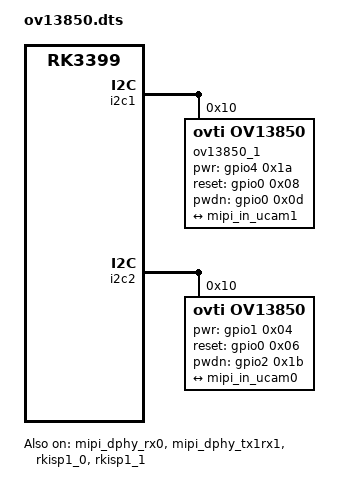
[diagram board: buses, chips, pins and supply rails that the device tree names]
/dts-v1/;
/plugin/;

/ {
    compatible = "rockchip,rk3399";
    description = "OV13850 Overlay for OrangePi 4";

    /* Configuring MIPI in channels */

    fragment@0 {
        target = <&mipi_dphy_rx0>;
        __overlay__ {
            status = "okay";
            ports {
				#address-cells = < 0x01 >;
				#size-cells = < 0x00 >;

				port@0 {
					reg = < 0x00 >;
					#address-cells = < 0x01 >;
					#size-cells = < 0x00 >;

					mipi_in_ucam0: endpoint@1 {
						reg = < 0x01 >;
						remote-endpoint = < &ucam_out0 >;
						data-lanes = < 0x01 0x02 >;
					};
				};

				port@1 {
					reg = < 0x01 >;
					#address-cells = < 0x01 >;
					#size-cells = < 0x00 >;

					dphy_rx0_out: endpoint@0 {
						reg = < 0x00 >;
						remote-endpoint = < &isp0_mipi_in >;
					};
				};
			};
        };
    };

    fragment@1 {
        target = <&mipi_dphy_tx1rx1>;
        __overlay__ {
            status = "okay";
            ports {
				#address-cells = < 0x01 >;
				#size-cells = < 0x00 >;

				port@0 {
					reg = < 0x00 >;
					#address-cells = < 0x01 >;
					#size-cells = < 0x00 >;

					mipi_in_ucam1: endpoint@1 {
						reg = < 0x01 >;
						remote-endpoint = < &ucam_out1 >;
						data-lanes = < 0x01 0x02 >;
					};
				};

				port@1 {
					reg = < 0x01 >;
					#address-cells = < 0x01 >;
					#size-cells = < 0x00 >;

					dphy_tx1rx1_out: endpoint@0 {
						reg = < 0x00 >;
						remote-endpoint = < &isp1_mipi_in >;
					};
				};
			};
        };
    };

    /* Configuring RKISP and IOMMU */

    fragment@2 {
        target = <&rkisp1_0>;
        __overlay__ {
            status = "okay";
            port {
                #address-cells = < 0x01 >;
			    #size-cells = < 0x00 >;

                isp0_mipi_in: endpoint@0 {
                    reg = < 0x00 >;
                    remote-endpoint = < &dphy_rx0_out >;
                };
            };
        };
    };

    fragment@3 {
        target = <&rkisp1_1>;
        __overlay__ {
            status = "okay";
            port {
                #address-cells = < 0x01 >;
			    #size-cells = < 0x00 >;

                isp1_mipi_in: endpoint@0 {
                    reg = < 0x00 >;
                    remote-endpoint = < &dphy_tx1rx1_out >;
                };
            };
        };
    };

    fragment@4 {
        target = <&isp0_mmu>;
        __overlay__ {
            status = "okay";
        };
    };

    fragment@5 {
        target = <&isp1_mmu>;
        __overlay__ {
            status = "okay";
        };
    };

    /* OV13850 Cameras */

    fragment@6 {
        target = <&i2c1>;
        __overlay__ {
            status = "okay";
            vm149c@0c {
                compatible = "silicon touch,vm149c";
                status = "disable";
                reg = < 0x0c >;
            };
    
            ov13850_1: ov13850@10 {
                compatible = "ovti,ov13850";
                status = "okay";
                reg = < 0x10 >;
                clocks = < &cru 0x89 >; /* 0x89: SCLK_CIF_OUT */
                clock-names = "xvclk";
                pwr-gpios = < &gpio4 0x1a 0x00 >;
                reset-gpios = < &gpio0 0x08 0x00 >;
                pwdn-gpios = < &gpio0 0x0d 0x00 >;
                pinctrl-names = "rockchip,camera_default";
                pinctrl-0 = < &cif_clkout >;
                rockchip,camera-module-index = < 0x00 >;
                rockchip,camera-module-facing = "back";
                rockchip,camera-module-name = "CMK-CT0116";
                rockchip,camera-module-lens-name = "Largan-50013A1";
    
                port {
                    ucam_out1: endpoint {
                        remote-endpoint = < &mipi_in_ucam1 >;
                        data-lanes = < 0x01 0x02 >;
                    };
                };
            };
        };
    };

    fragment@7 {
        target = <&i2c2>;
        __overlay__ {
            status = "okay";
            vm149c@0c {
                compatible = "silicon touch,vm149c";
                status = "disable";
                reg = < 0x0c >;
            };
    
            ov13850: ov13850@10 {
                compatible = "ovti,ov13850";
                status = "okay";
                reg = < 0x10 >;
                clocks = < &cru 0x89 >; /* 0x89: SCLK_CIF_OUT */
                clock-names = "xvclk";
                pwr-gpios = < &gpio1 0x04 0x00 >;
                reset-gpios = < &gpio0 0x06 0x00 >;
                pwdn-gpios = < &gpio2 0x1b 0x00 >;
                pinctrl-names = "rockchip,camera_default";
                pinctrl-0 = < &cif_clkout >;
                rockchip,camera-module-index = < 0x00 >;
                rockchip,camera-module-facing = "back";
                rockchip,camera-module-name = "CMK-CT0116";
                rockchip,camera-module-lens-name = "Largan-50013A1";
    
                port {
                    ucam_out0: endpoint {
                        remote-endpoint = < &mipi_in_ucam0 >;
                        data-lanes = < 0x01 0x02 >;
                    };
                };
            };
        };
    };
};


